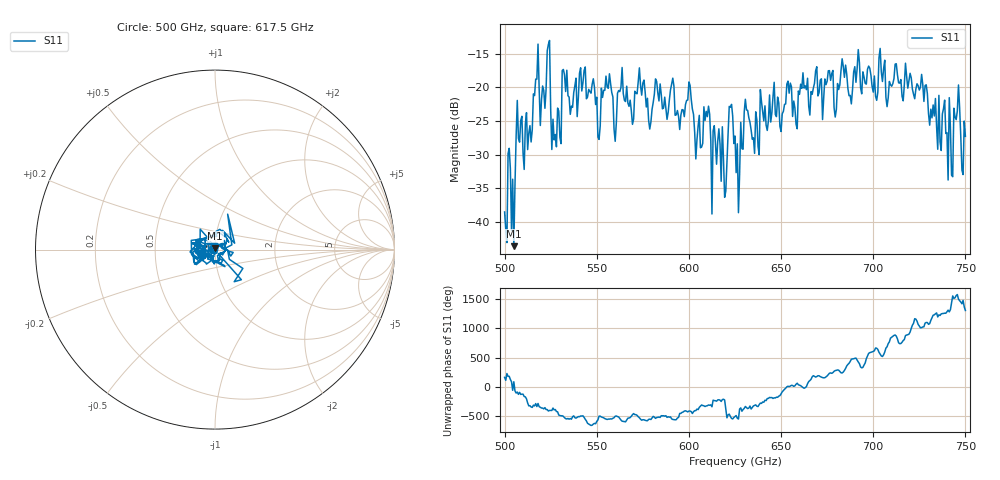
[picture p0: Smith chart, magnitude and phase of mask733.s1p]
!Created with skrf (http://scikit-rf.org).
# GHz S MA R 50.0
!freq magS11 angS11
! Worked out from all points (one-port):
!   401 points, 500 GHz to 750 GHz, reference 50 ohm
!   lowest |S11| = -43.6 dB at 505 GHz (marker M1), VSWR 1.01, Z = 50.1 + j0.659 ohm
!   |S11| at or under -10 dB: start of sweep to end of sweep
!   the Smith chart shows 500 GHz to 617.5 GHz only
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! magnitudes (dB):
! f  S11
! 500 GHz  -38.5
! 503.1 GHz  -32.1
! 505 GHz  -43.6
! 507.5 GHz  -27.6
! 513.8 GHz  -25.7
! 516.9 GHz  -18.8
! 520.6 GHz  -19.8
! 523.8 GHz  -13.6
! 526.9 GHz  -27.8
! 531.2 GHz  -17.5
! 542.5 GHz  -19.3
! 550.6 GHz  -27.3
! 562.5 GHz  -20.6
! 593.8 GHz  -23.4
! 609.4 GHz  -23.6
! 618.8 GHz  -30.6
! 622.5 GHz  -23.0
! 625 GHz  -27.2
! 626.2 GHz  -28.4
! 656.2 GHz  -24.3
! 676.9 GHz  -19.0
! 680 GHz  -23.3
! 683.8 GHz  -16.9
! 687.5 GHz  -21.2
! 718.8 GHz  -20.1
! 741.9 GHz  -26.0
! 745 GHz  -24.8
! 750 GHz  -27.3
